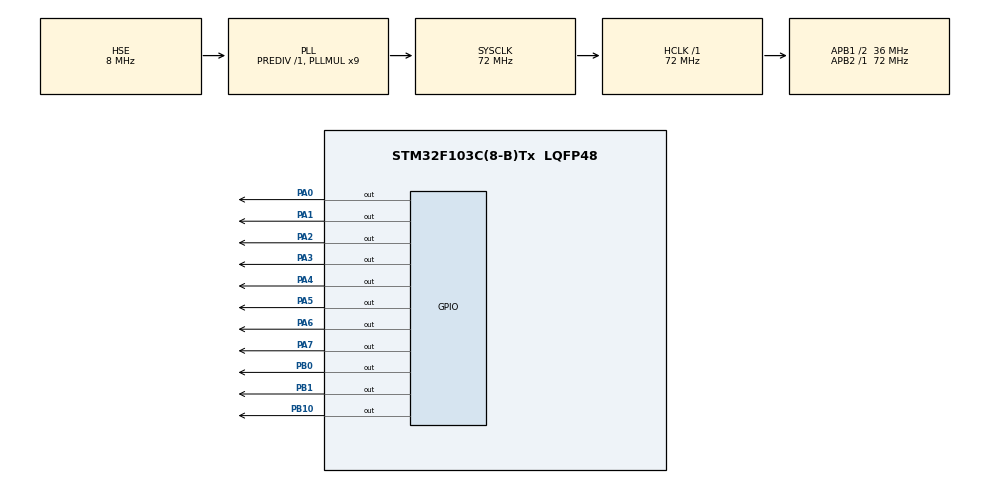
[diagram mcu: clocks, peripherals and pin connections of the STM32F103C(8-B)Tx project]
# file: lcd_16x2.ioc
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Mcu.Family=STM32F1
Mcu.Name=STM32F103C(8-B)Tx
Mcu.Package=LQFP48
NVIC.PriorityGroup=NVIC_PRIORITYGROUP_4
PA0-WKUP.Signal=GPIO_Output
PA1.Signal=GPIO_Output
PA13.Mode=Serial_Wire
PA13.Signal=SYS_JTMS-SWDIO
PA14.Mode=Serial_Wire
PA14.Signal=SYS_JTCK-SWCLK
PA2.Signal=GPIO_Output
PA3.Signal=GPIO_Output
PA4.Signal=GPIO_Output
PA5.Signal=GPIO_Output
PA6.Signal=GPIO_Output
PA7.Signal=GPIO_Output
PB0.Signal=GPIO_Output
PB1.Signal=GPIO_Output
PB10.Signal=GPIO_Output
PD0-OSC_IN.Mode=HSE-External-Oscillator
PD0-OSC_IN.Signal=RCC_OSC_IN
PD1-OSC_OUT.Mode=HSE-External-Oscillator
PD1-OSC_OUT.Signal=RCC_OSC_OUT
ProjectManager.HeapSize=0x200
ProjectManager.StackSize=0x400
ProjectManager.TargetToolchain=MDK-ARM V5.32
RCC.AHBFreq_Value=72000000
RCC.APB1CLKDivider=RCC_HCLK_DIV2
RCC.APB1Freq_Value=36000000
RCC.APB1TimFreq_Value=72000000
RCC.APB2Freq_Value=72000000
RCC.APB2TimFreq_Value=72000000
RCC.HCLKFreq_Value=72000000
RCC.PLLMUL=RCC_PLL_MUL9
RCC.PLLSourceVirtual=RCC_PLLSOURCE_HSE
RCC.SYSCLKFreq_VALUE=72000000
RCC.SYSCLKSource=RCC_SYSCLKSOURCE_PLLCLK
RCC.USBFreq_Value=72000000
board=custom

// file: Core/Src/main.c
/* USER CODE BEGIN Header */
/**
  ******************************************************************************
  * @file           : main.c
  * @brief          : Main program body
  ******************************************************************************
  * @attention
  *
  * Copyright (c) 2026 STMicroelectronics.
  * All rights reserved.
  *
  * This software is licensed under terms that can be found in the LICENSE file
  * in the root directory of this software component.
  * If no LICENSE file comes with this software, it is provided AS-IS.
  *
  ******************************************************************************
  */
/* USER CODE END Header */
#include "main.h"

void SystemClock_Config(void);
static void MX_GPIO_Init(void);

/* USER CODE BEGIN 0 */

#define MDATA 0x01
#define MCMD 0X00

void LCD_Init();

void LCD_Write_data(uint8_t data);

void LCD_Write_cmd(uint8_t data);

void While_Write_Byte(uint8_t data,uint8_t mode);

void Write_Print(char *str);

void LCD_Write_Byte(uint8_t data,uint8_t mode) {
	 if(mode == 0x01) {
		 //data
		 HAL_GPIO_WritePin(GPIOB,GPIO_PIN_0,1); //RS = 1;
	 }else if(mode == 0x00) {
		 //CMD
		  HAL_GPIO_WritePin(GPIOB,GPIO_PIN_0,0); //RS = 0;
	 }

	 HAL_GPIO_WritePin(GPIOA,GPIO_PIN_0,(data & 0x01));
	 HAL_GPIO_WritePin(GPIOA,GPIO_PIN_1,(data & 0x02));
	 HAL_GPIO_WritePin(GPIOA,GPIO_PIN_2,(data & 0x04));
	 HAL_GPIO_WritePin(GPIOA,GPIO_PIN_3,(data & 0x08));
	 HAL_GPIO_WritePin(GPIOA,GPIO_PIN_4,(data & 0x10));
	 HAL_GPIO_WritePin(GPIOA,GPIO_PIN_5,(data & 0x20));
	 HAL_GPIO_WritePin(GPIOA,GPIO_PIN_6,(data & 0x40));
	 HAL_GPIO_WritePin(GPIOA,GPIO_PIN_7,(data & 0x80));

	 HAL_GPIO_WritePin(GPIOB,GPIO_PIN_10,0);
	 HAL_Delay(1);
	 HAL_GPIO_WritePin(GPIOB,GPIO_PIN_10,1);
	 HAL_Delay(1);
	 HAL_GPIO_WritePin(GPIOB,GPIO_PIN_10,0);
	 HAL_Delay(1);
}

void LCD_Write_data(uint8_t data) {
	 LCD_Write_Byte(data,1);
}

void LCD_Write_cmd(uint8_t data) {
	 LCD_Write_Byte(data,0);
}

void LCD_Init() {
	HAL_Delay(50);
	LCD_Write_cmd(0x38);
	HAL_Delay(5);
	LCD_Write_cmd(0x0C);
  HAL_Delay(5);
	LCD_Write_cmd(0x01);
  HAL_Delay(5);
	LCD_Write_cmd(0x06);
  HAL_Delay(5);
}

void Write_Print(char *str) {
	while(*str) {
	    LCD_Write_data(*str++);
	}
}
/* USER CODE END 0 */

int main(void)
{

  /* MCU Configuration--------------------------------------------------------*/

  /* Reset of all peripherals, Initializes the Flash interface and the Systick. */
  HAL_Init();

  /* Configure the system clock */
  SystemClock_Config();

  /* Initialize all configured peripherals */
  MX_GPIO_Init();
  /* USER CODE BEGIN 2 */

   HAL_GPIO_WritePin(GPIOB,GPIO_PIN_1,0);
   void LCD_Init();
	 Write_Print("Hello world");
  /* USER CODE END 2 */

  /* Infinite loop */
  while (1)
  {

  }
}

void SystemClock_Config(void)
{
  RCC_OscInitTypeDef RCC_OscInitStruct = {0};
  RCC_ClkInitTypeDef RCC_ClkInitStruct = {0};

  /** Initializes the RCC Oscillators according to the specified parameters
  * in the RCC_OscInitTypeDef structure.
  */
  RCC_OscInitStruct.OscillatorType = RCC_OSCILLATORTYPE_HSE;
  RCC_OscInitStruct.HSEState = RCC_HSE_ON;
  RCC_OscInitStruct.HSEPredivValue = RCC_HSE_PREDIV_DIV1;
  RCC_OscInitStruct.HSIState = RCC_HSI_ON;
  RCC_OscInitStruct.PLL.PLLState = RCC_PLL_ON;
  RCC_OscInitStruct.PLL.PLLSource = RCC_PLLSOURCE_HSE;
  RCC_OscInitStruct.PLL.PLLMUL = RCC_PLL_MUL9;
  if (HAL_RCC_OscConfig(&RCC_OscInitStruct) != HAL_OK)
  {
    Error_Handler();
  }

  /** Initializes the CPU, AHB and APB buses clocks
  */
  RCC_ClkInitStruct.ClockType = RCC_CLOCKTYPE_HCLK|RCC_CLOCKTYPE_SYSCLK
                              |RCC_CLOCKTYPE_PCLK1|RCC_CLOCKTYPE_PCLK2;
  RCC_ClkInitStruct.SYSCLKSource = RCC_SYSCLKSOURCE_PLLCLK;
  RCC_ClkInitStruct.AHBCLKDivider = RCC_SYSCLK_DIV1;
  RCC_ClkInitStruct.APB1CLKDivider = RCC_HCLK_DIV2;
  RCC_ClkInitStruct.APB2CLKDivider = RCC_HCLK_DIV1;

  if (HAL_RCC_ClockConfig(&RCC_ClkInitStruct, FLASH_LATENCY_2) != HAL_OK)
  {
    Error_Handler();
  }
}

static void MX_GPIO_Init(void)
{
  GPIO_InitTypeDef GPIO_InitStruct = {0};

  /* GPIO Ports Clock Enable */
  __HAL_RCC_GPIOD_CLK_ENABLE();
  __HAL_RCC_GPIOA_CLK_ENABLE();
  __HAL_RCC_GPIOB_CLK_ENABLE();

  /*Configure GPIO pin Output Level */
  HAL_GPIO_WritePin(GPIOA, GPIO_PIN_0|GPIO_PIN_1|GPIO_PIN_2|GPIO_PIN_3
                          |GPIO_PIN_4|GPIO_PIN_5|GPIO_PIN_6|GPIO_PIN_7, GPIO_PIN_RESET);

  /*Configure GPIO pin Output Level */
  HAL_GPIO_WritePin(GPIOB, GPIO_PIN_0|GPIO_PIN_1|GPIO_PIN_10, GPIO_PIN_RESET);

  /*Configure GPIO pins : PA0 PA1 PA2 PA3
                           PA4 PA5 PA6 PA7 */
  GPIO_InitStruct.Pin = GPIO_PIN_0|GPIO_PIN_1|GPIO_PIN_2|GPIO_PIN_3
                          |GPIO_PIN_4|GPIO_PIN_5|GPIO_PIN_6|GPIO_PIN_7;
  GPIO_InitStruct.Mode = GPIO_MODE_OUTPUT_PP;
  GPIO_InitStruct.Pull = GPIO_NOPULL;
  GPIO_InitStruct.Speed = GPIO_SPEED_FREQ_LOW;
  HAL_GPIO_Init(GPIOA, &GPIO_InitStruct);

  /*Configure GPIO pins : PB0 PB1 PB10 */
  GPIO_InitStruct.Pin = GPIO_PIN_0|GPIO_PIN_1|GPIO_PIN_10;
  GPIO_InitStruct.Mode = GPIO_MODE_OUTPUT_PP;
  GPIO_InitStruct.Pull = GPIO_NOPULL;
  GPIO_InitStruct.Speed = GPIO_SPEED_FREQ_LOW;
  HAL_GPIO_Init(GPIOB, &GPIO_InitStruct);

}

void Error_Handler(void)
{
  __disable_irq();
  while (1)
  {
  }
}
